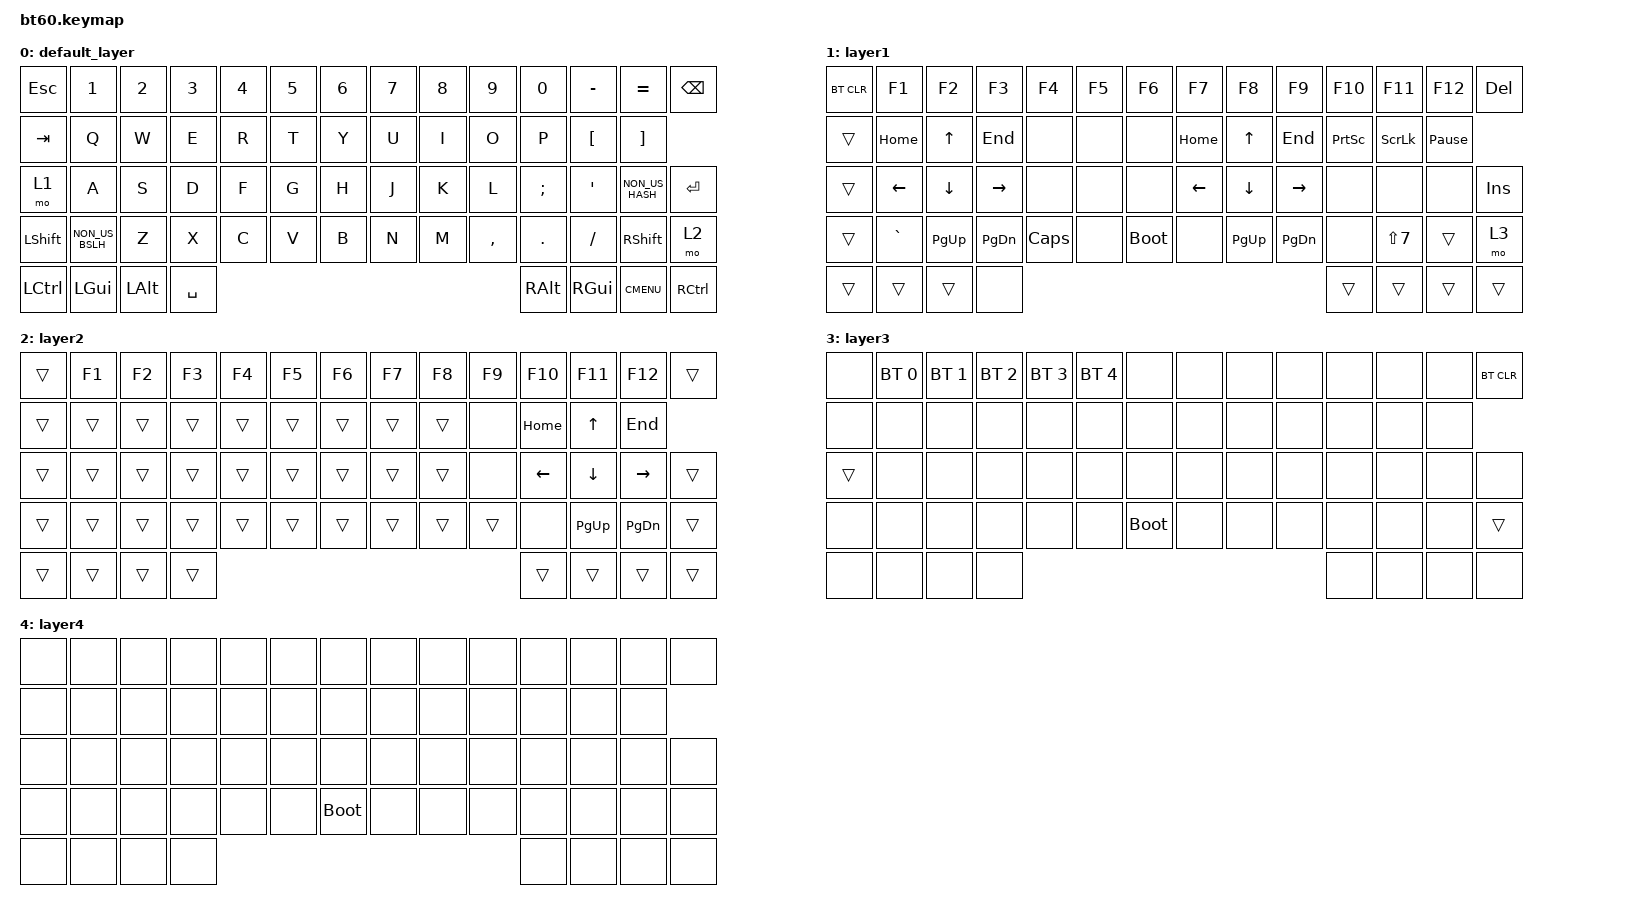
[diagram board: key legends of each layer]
#include <behaviors.dtsi>
#include <dt-bindings/zmk/keys.h>
#include <dt-bindings/zmk/bt.h>
#include <dt-bindings/zmk/rgb.h>
#include <dt-bindings/zmk/backlight.h>

/ {
	keymap {
		compatible = "zmk,keymap";

		default_layer {
				// ------------------------------------------------------------------------------------------
				// |  `  |  1  |  2  |  3  |  4  |  5  |  6  |  7  |  8  |  9  |  0  |  -  |  =  |   BKSP
				// | TAB  |  Q  |  W  |  E  |  R  |  T  |  Y  |  U  |  I  |  O  |  P  |  [  |  ]  |        |
				// | 1     |  A  |  S  |  D  |  F  |  G  |  H  |  J  |  K  |  L  |  ;  |  '  |  #  | ENTER |
				// |  SHIFT|  \ |  Z  |  X  |  C  |  V  |  B  |  N  |  M  |  ,  |  .  | /   |   SHIFT   FN |
				// |  CTL  |  WIN  |  ALT  |            SPACE               | ALT | WIN  |  MENU    |  CTRL|
				// ------------------------------------------------------------------------------------------
			bindings = <

				&kp ESC &kp N1 &kp N2 &kp N3 &kp N4 &kp N5 &kp N6 &kp N7 &kp  N8   &kp  N9 &kp  N0  &kp MINUS &kp EQUAL &kp BSPC
				&kp TAB  &kp Q  &kp W  &kp E  &kp R  &kp T  &kp Y  &kp U  &kp  I    &kp  O  &kp  P   &kp LBKT &kp RBKT
				&mo 1  	  &kp A  &kp S  &kp D  &kp F  &kp G  &kp H  &kp J  &kp  K    &kp  L  &kp SEMI &kp SQT &kp NON_US_HASH  &kp RET
				&kp LSHFT &kp NON_US_BSLH &kp Z  &kp X  &kp C  &kp V  &kp B  &kp N  &kp M  &kp COMMA &kp DOT &kp FSLH         &kp RSHFT &mo 2
				&kp LCTRL &kp LGUI &kp LALT            &kp SPACE                          &kp RALT  &kp RGUI &kp K_CMENU    &kp RCTRL
			>;
		};
		layer1 {
			bindings = <
				&bt BT_CLR &kp F1 &kp F2 &kp F3 &kp F4 &kp F5 &kp F6 &kp F7 &kp F8 &kp F9 &kp F10 &kp F11 &kp F12 &kp DEL
				&trans &kp HOME &kp UP &kp END &none &none &none &kp HOME &kp UP &kp END &kp PSCRN &kp SLCK &kp PAUSE_BREAK
				&trans &kp LEFT &kp DOWN &kp RIGHT &none &none &none &kp LEFT &kp DOWN &kp RIGHT &none &none &none &kp INSERT
				&trans &kp GRAVE &kp PG_UP &kp PG_DN &kp CAPS &none &bootloader &none &kp PG_UP &kp PG_DN &none &kp LS(N7) &trans &mo 3
				&trans &trans &trans                &none                          &trans &trans &trans &trans
			>;
		};
		layer2 {
			bindings = <
				&trans &kp F1 &kp F2 &kp F3 &kp F4 &kp F5 &kp F6 &kp F7 &kp F8 &kp F9 &kp F10 &kp F11 &kp F12 &trans
				&trans &trans &trans &trans &trans &trans &trans &trans &trans &none &kp HOME &kp UP &kp END
				&trans &trans &trans &trans &trans &trans &trans &trans &trans &none &kp LEFT &kp DOWN &kp RIGHT &trans
				&trans &trans &trans &trans &trans &trans &trans &trans &trans &trans &none &kp PG_UP &kp PG_DN &trans
				&trans &trans &trans                &trans                          &trans &trans &trans &trans
			>;
		};
		layer3 {
			bindings = <
				&none &bt BT_SEL 0 &bt BT_SEL 1 &bt BT_SEL 2 &bt BT_SEL 3 &bt BT_SEL 4 &none &none &none &none &none &none &none &bt BT_CLR
				&none &none &none &none &none &none &none &none &none &none &none &none &none
				&trans &none &none &none &none &none &none &none &none &none &none &none &none &none
				&none &none &none &none &none &none &bootloader &none &none &none &none &none &none &trans
				&none &none &none                &none                          &none &none &none &none
			>;
		};
		layer4 {
			bindings = <
				&none &none &none &none &none &none &none &none &none &none &none &none &none &none
				&none &none &none &none &none &none &none &none &none &none &none &none &none
				&none &none &none &none &none &none &none &none &none &none &none &none &none &none
				&none &none &none &none &none &none &bootloader &none &none &none &none &none &none &none
				&none &none &none                &none                          &none &none &none &none
			>;
		};
	};
};
